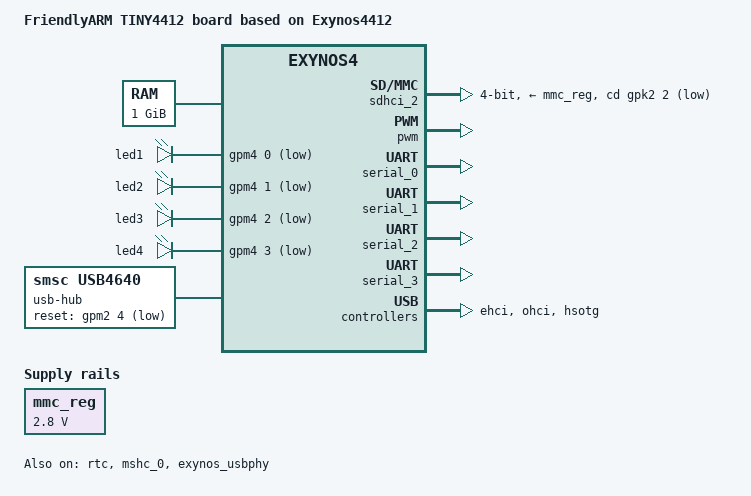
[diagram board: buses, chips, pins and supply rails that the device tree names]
/*
 * FriendlyARM's Exynos4412 based TINY4412 board device tree source
 *
 * Copyright (c) 2013 Alex Ling <kasimling@gmail.com>
 *
 * Device tree source file for FriendlyARM's TINY4412 board which is based on
 * Samsung's Exynos4412 SoC.
 *
 * This program is free software; you can redistribute it and/or modify
 * it under the terms of the GNU General Public License version 2 as
 * published by the Free Software Foundation.
*/

/dts-v1/;
#include "exynos4412.dtsi"
#include <dt-bindings/gpio/gpio.h>
#include <dt-bindings/usb4640/usb4640.h>
#include <dt-bindings/pwm/pwm.h>

/ {
	model = "FriendlyARM TINY4412 board based on Exynos4412";
	compatible = "friendlyarm,tiny4412", "samsung,exynos4412", "samsung,exynos4";

	chosen {
		stdout-path = &serial_0;
		bootargs = "root=/dev/ram0 rw rootfstype=ext4 console=ttySAC2,115200 ethmac=1C:6F:65:34:51:7E init=/linuxrc";
	};

	memory {
		reg = <0x40000000 0x40000000>;
	};

	leds {
		compatible = "gpio-leds";

		led1 {
			label = "led1";
			gpios = <&gpm4 0 GPIO_ACTIVE_LOW>;
			default-state = "off";
			linux,default-trigger = "heartbeat";
		};

		led2 {
			label = "led2";
			gpios = <&gpm4 1 GPIO_ACTIVE_LOW>;
			default-state = "off";
		};

		led3 {
			label = "led3";
			gpios = <&gpm4 2 GPIO_ACTIVE_LOW>;
			default-state = "off";
		};

		led4 {
			label = "led4";
			gpios = <&gpm4 3 GPIO_ACTIVE_LOW>;
			default-state = "off";
			linux,default-trigger = "mmc0";
		};
	};

	fixed-rate-clocks {
		xxti {
			compatible = "samsung,clock-xxti";
			clock-frequency = <0>;
		};

		xusbxti {
			compatible = "samsung,clock-xusbxti";
			clock-frequency = <24000000>;
		};
	};

	usb-hub {
		compatible = "smsc,usb4640";
		reset-gpios = <&gpm2 4 GPIO_ACTIVE_LOW>;
		initial-mode = <USB4640_MODE_HUB>;
	};

	regulators {
		compatible = "simple-bus";
		#address-cells = <1>;
		#size-cells = <0>;

		mmc_reg: regulator@0{
			compatible = "regulator-fixed";
			reg = <0>;
			regulator-name = "VMEM_VDD_2.8V";
			regulator-min-microvolt = <2800000>;
			regulator-max-microvolt = <2800000>;
		};
	};




};

&rtc {
	status = "okay";
};

&sdhci_2 {
	bus-width = <4>;
	pinctrl-0 = <&sd2_clk &sd2_cmd &sd2_bus4>;
	pinctrl-names = "default";
	vmmc-supply = <&mmc_reg>;
	cd-gpios = <&gpk2 2 GPIO_ACTIVE_HIGH>;
	cd-inverted;
	status = "okay";
};

&mshc_0 {
	num-slots = <1>;
	broken-cd;
	non-removable;
	card-detect-delay = <200>;
	vmmc-supply = <&mmc_reg>;
	clock-frequency = <400000000>;
	samsung,dw-mshc-ciu-div = <0>;
	samsung,dw-mshc-sdr-timing = <2 3>;
	samsung,dw-mshc-ddr-timing = <1 2>;
	pinctrl-0 = <&sd4_clk &sd4_cmd &sd4_bus4 &sd4_bus8>;
	pinctrl-names = "default";
	status = "okay";
	bus-width = <8>;
	cap-mmc-highspeed;
};

&pwm {
	pinctrl-0 = <&pwm0_out>;
	pinctrl-names = "default";
	samsung,pwm-outputs = <0>;
	status = "okay";
};

&serial_0 {
    status = "okay";
};

&serial_1 {
    status = "okay";
};

&serial_2 {
    status = "okay";
};

&serial_3 {
    status = "okay";
};

&exynos_usbphy {
	status = "okay";
};

&ehci {
	status = "okay";
	port@0 {
		status = "okay";
	};
	port@1 {
		status = "okay";
	};
	port@2 {
		status = "okay";
	};
};

&ohci {
	status = "okay";
	port@0 {
		status = "okay";
	};
};

&hsotg {
	status = "okay";
};



